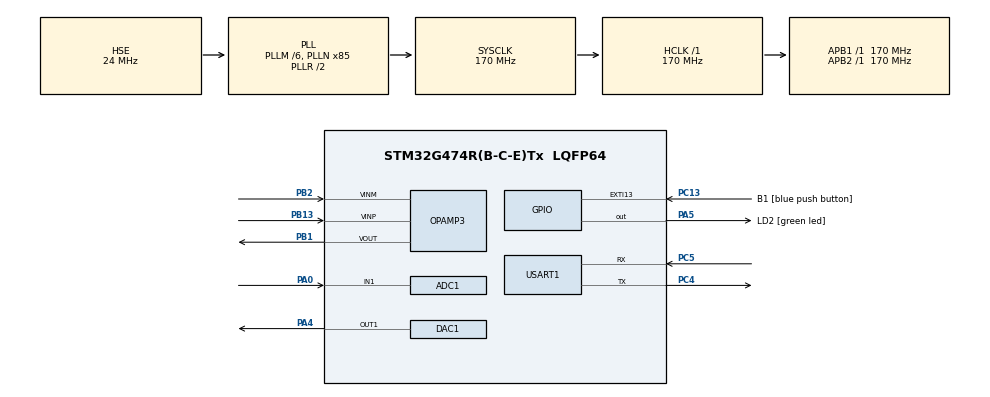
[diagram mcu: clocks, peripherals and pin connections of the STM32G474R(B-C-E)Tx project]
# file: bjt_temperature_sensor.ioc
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ADC1.Channel-1\#ChannelRegularConversion=ADC_CHANNEL_1
ADC1.ClockPrescaler=ADC_CLOCK_ASYNC_DIV8
ADC1.ContinuousConvMode=ENABLE
ADC1.DMAContinuousRequests=ENABLE
ADC1.GainCompensation=0
ADC1.NbrOfConversion=1
ADC1.NbrOfConversionFlag=1
ADC1.OffsetNumber-1\#ChannelRegularConversion=ADC_OFFSET_NONE
ADC1.Overrun=ADC_OVR_DATA_OVERWRITTEN
ADC1.OversamplingMode=ENABLE
ADC1.Rank-1\#ChannelRegularConversion=1
ADC1.Ratio=ADC_OVERSAMPLING_RATIO_256
ADC1.RightBitShift=ADC_RIGHTBITSHIFT_8
ADC1.SamplingTime-1\#ChannelRegularConversion=ADC_SAMPLETIME_640CYCLES_5
ADC1.master=1
DAC1.DAC_Trigger_OUT1-DAC_OUT1=DAC_TRIGGER_NONE
DAC1.DAC_UserTrimming-DAC_OUT1=DAC_TRIMMING_FACTORY
Dma.ADC1.0.Direction=DMA_PERIPH_TO_MEMORY
Dma.ADC1.0.EventEnable=DISABLE
Dma.ADC1.0.Instance=DMA2_Channel1
Dma.ADC1.0.MemDataAlignment=DMA_MDATAALIGN_HALFWORD
Dma.ADC1.0.MemInc=DMA_MINC_ENABLE
Dma.ADC1.0.Mode=DMA_CIRCULAR
Dma.ADC1.0.PeriphDataAlignment=DMA_PDATAALIGN_HALFWORD
Dma.ADC1.0.PeriphInc=DMA_PINC_DISABLE
Dma.ADC1.0.Polarity=HAL_DMAMUX_REQ_GEN_RISING
Dma.ADC1.0.Priority=DMA_PRIORITY_HIGH
Dma.ADC1.0.RequestNumber=1
Dma.ADC1.0.SignalID=NONE
Dma.ADC1.0.SyncEnable=DISABLE
Dma.ADC1.0.SyncPolarity=HAL_DMAMUX_SYNC_NO_EVENT
Dma.ADC1.0.SyncRequestNumber=1
Dma.ADC1.0.SyncSignalID=NONE
Dma.Request0=ADC1
Mcu.Family=STM32G4
Mcu.Name=STM32G474R(B-C-E)Tx
Mcu.Package=LQFP64
NVIC.DMA2_Channel1_IRQn=true\:0\:1\:false\:false\:true\:false\:true\:true
NVIC.EXTI15_10_IRQn=true\:1\:0\:true\:false\:true\:true\:true\:true
NVIC.PriorityGroup=NVIC_PRIORITYGROUP_3
NVIC.USART1_IRQn=true\:0\:0\:true\:false\:true\:true\:true\:true
OPAMP3.PowerMode=OPAMP_POWERMODE_HIGHSPEED
PA0.Mode=IN1-Single-Ended
PA0.Signal=ADC1_IN1
PA13.GPIO_Label=T_SWDIO
PA13.Mode=Serial_Wire
PA13.Signal=SYS_JTMS-SWDIO
PA14.GPIO_Label=T_SWCLK
PA14.Mode=Serial_Wire
PA14.Signal=SYS_JTCK-SWCLK
PA4.Signal=COMP_DAC11_group
PA5.GPIO_Label=LD2 [green led]
PA5.Signal=GPIO_Output
PB1.Mode=Standalone
PB1.Signal=OPAMP3_VOUT
PB13.Mode=Standalone
PB13.Signal=OPAMP3_VINP
PB2.Mode=Standalone
PB2.Signal=OPAMP3_VINM
PC13.GPIO_Label=B1 [blue push button]
PC13.Signal=GPXTI13
PC14-OSC32_IN.Mode=LSE-External-Oscillator
PC14-OSC32_IN.Signal=RCC_OSC32_IN
PC15-OSC32_OUT.Mode=LSE-External-Oscillator
PC15-OSC32_OUT.Signal=RCC_OSC32_OUT
PC4.Mode=Asynchronous
PC4.Signal=USART1_TX
PC5.Mode=Asynchronous
PC5.Signal=USART1_RX
PF0-OSC_IN.Mode=HSE-External-Oscillator
PF0-OSC_IN.Signal=RCC_OSC_IN
PF1-OSC_OUT.Mode=HSE-External-Oscillator
PF1-OSC_OUT.Signal=RCC_OSC_OUT
ProjectManager.HeapSize=0x200
ProjectManager.StackSize=0x400
ProjectManager.TargetToolchain=STM32CubeIDE
RCC.ADC12Freq_Value=170000000
RCC.ADC345Freq_Value=170000000
RCC.AHBFreq_Value=170000000
RCC.APB1Freq_Value=170000000
RCC.APB1TimFreq_Value=170000000
RCC.APB2Freq_Value=170000000
RCC.APB2TimFreq_Value=170000000
RCC.CortexFreq_Value=170000000
RCC.EXTERNAL_CLOCK_VALUE=12288000
RCC.HCLKFreq_Value=170000000
RCC.HSE_VALUE=24000000
RCC.HSI48_VALUE=48000000
RCC.HSI_VALUE=16000000
RCC.PLLM=RCC_PLLM_DIV6
RCC.PLLN=85
RCC.PLLSourceVirtual=RCC_PLLSOURCE_HSE
RCC.RTCClockSelection=RCC_RTCCLKSOURCE_LSE
RCC.SYSCLKFreq_VALUE=170000000
RCC.SYSCLKSource=RCC_SYSCLKSOURCE_PLLCLK
RCC.USBFreq_Value=170000000
RCC.VCOOutputFreq_Value=340000000
SH.COMP_DAC11_group.0=DAC1_OUT1,DAC_OUT1
USART1.VirtualMode-Asynchronous=VM_ASYNC
VP_SYS_VS_DBSignals.Mode=DisableDeadBatterySignals
board=NUCLEO-G474RE

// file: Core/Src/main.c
/* USER CODE BEGIN Header */
/**
 ******************************************************************************
 * @file           : main.c
 * @brief          : Main program body
 ******************************************************************************
 * @attention
 *
 * Copyright (c) 2023 STMicroelectronics.
 * All rights reserved.
 *
 * This software is licensed under terms that can be found in the LICENSE file
 * in the root directory of this software component.
 * If no LICENSE file comes with this software, it is provided AS-IS.
 *
 ******************************************************************************
 */
/* USER CODE END Header */
#include "main.h"
#include "adc.h"
#include "dac.h"
#include "dma.h"
#include "opamp.h"
#include "usart.h"
#include "gpio.h"

/* USER CODE BEGIN Includes */
#include "stdint.h"
#include "stdio.h"
#include "math.h"
/* USER CODE END Includes */

void SystemClock_Config(void);
/* USER CODE BEGIN PFP */
static uint32_t Vf_raw = 0;
static uint32_t timestamp_ms = 0;
static uint32_t DAC_Value = 600;

static double temp_C = 0;

static double Vf_filtered = 0.0;
static double Vf_filtered_pre = 0.0;

static double filter_coeff = 0.1;
static uint8_t rx_buffer[10] = { 0 };
static uint8_t rx_buffer_counter = 0;

static double coeff0 = -0.057718564039213;
static double coeff1 = 166.0166993386221;

extern UART_HandleTypeDef huart1;

/* USER CODE END PFP */

/* USER CODE BEGIN 0 */
int __io_putchar(int ch) {
	/* Place your implementation of fputc here */
	/* e.g. write a character to the LPUART1 and Loop until the end of transmission */
	//HAL_UART_Transmit(&hlpuart1, (uint8_t*) &ch, 1, 0xFFFF);
	return ch;
}

void HAL_UART_RxCpltCallback(UART_HandleTypeDef *huart) {

	if (rx_buffer_counter >= 4) {
		rx_buffer_counter = 0;
		if ('R' == rx_buffer[0] && 'T' == rx_buffer[1] && '\r' == rx_buffer[2]
				&& '\n' == rx_buffer[3]) {
			uint16_t tempC_tx = lround(temp_C * 100.0);
			HAL_UART_Transmit_IT(&huart1, (uint8_t*) &tempC_tx, 2);
		} else {
			uint16_t tempC_tx = 0xFFFF;
			HAL_UART_Transmit_IT(&huart1, (uint8_t*) &tempC_tx, 2);
		}
	}

	if ('R' != rx_buffer[0]) {
		rx_buffer_counter = 0;
		uint16_t tempC_tx = 0xFFFF;
		HAL_UART_Transmit_IT(&huart1, (uint8_t*) &tempC_tx, 2);
	}

	HAL_UART_Receive_IT(&huart1, &rx_buffer[rx_buffer_counter++], 1);

}

/* USER CODE END 0 */

int main(void) {

	/* MCU Configuration--------------------------------------------------------*/

	/* Reset of all peripherals, Initializes the Flash interface and the Systick. */
	HAL_Init();

	/* Configure the system clock */
	SystemClock_Config();

	/* Initialize all configured peripherals */
	MX_GPIO_Init();
	MX_DMA_Init();
	MX_ADC1_Init();
	MX_USART1_UART_Init();
	MX_DAC1_Init();
	MX_OPAMP3_Init();
	/* USER CODE BEGIN 2 */
	/* Run the ADC calibration in single-ended mode */

	/* Enable OPAMP */
	if (HAL_OK != HAL_OPAMP_Start(&hopamp3)) {
		Error_Handler();
	}

	if (HAL_OK != HAL_ADC_Start_DMA(&hadc1, &Vf_raw, 1)) {
		/* Start DMA Error */
		Error_Handler();
	}
	HAL_UART_Receive_IT(&huart1, &rx_buffer[rx_buffer_counter++], 1);
	HAL_DAC_SetValue(&hdac1, DAC1_CHANNEL_1, DAC_ALIGN_12B_R, DAC_Value);
	HAL_DAC_Start(&hdac1, DAC1_CHANNEL_1);
	HAL_Delay(10);
	Vf_filtered_pre = (Vf_raw * 0.800);
	/* USER CODE END 2 */

	/* Infinite loop */
	/* USER CODE BEGIN WHILE */
	while (1) {

		if ((HAL_GetTick() - timestamp_ms) >= 100) {
			timestamp_ms = HAL_GetTick();

			HAL_DAC_SetValue(&hdac1, DAC1_CHANNEL_1, DAC_ALIGN_12B_R,
					DAC_Value);

			Vf_filtered = filter_coeff * (Vf_raw * 0.800)
					+ (1.0 - filter_coeff) * Vf_filtered_pre;
			Vf_filtered_pre = Vf_filtered;

			temp_C = coeff0 * Vf_filtered + coeff1;

		}
		/* USER CODE END WHILE */

	}
}

void SystemClock_Config(void) {
	RCC_OscInitTypeDef RCC_OscInitStruct = { 0 };
	RCC_ClkInitTypeDef RCC_ClkInitStruct = { 0 };

	/** Configure the main internal regulator output voltage
	 */
	HAL_PWREx_ControlVoltageScaling(PWR_REGULATOR_VOLTAGE_SCALE1_BOOST);

	/** Initializes the RCC Oscillators according to the specified parameters
	 * in the RCC_OscInitTypeDef structure.
	 */
	RCC_OscInitStruct.OscillatorType = RCC_OSCILLATORTYPE_HSE;
	RCC_OscInitStruct.HSEState = RCC_HSE_ON;
	RCC_OscInitStruct.PLL.PLLState = RCC_PLL_ON;
	RCC_OscInitStruct.PLL.PLLSource = RCC_PLLSOURCE_HSE;
	RCC_OscInitStruct.PLL.PLLM = RCC_PLLM_DIV6;
	RCC_OscInitStruct.PLL.PLLN = 85;
	RCC_OscInitStruct.PLL.PLLP = RCC_PLLP_DIV2;
	RCC_OscInitStruct.PLL.PLLQ = RCC_PLLQ_DIV2;
	RCC_OscInitStruct.PLL.PLLR = RCC_PLLR_DIV2;
	if (HAL_RCC_OscConfig(&RCC_OscInitStruct) != HAL_OK) {
		Error_Handler();
	}

	/** Initializes the CPU, AHB and APB buses clocks
	 */
	RCC_ClkInitStruct.ClockType = RCC_CLOCKTYPE_HCLK | RCC_CLOCKTYPE_SYSCLK
			| RCC_CLOCKTYPE_PCLK1 | RCC_CLOCKTYPE_PCLK2;
	RCC_ClkInitStruct.SYSCLKSource = RCC_SYSCLKSOURCE_PLLCLK;
	RCC_ClkInitStruct.AHBCLKDivider = RCC_SYSCLK_DIV1;
	RCC_ClkInitStruct.APB1CLKDivider = RCC_HCLK_DIV1;
	RCC_ClkInitStruct.APB2CLKDivider = RCC_HCLK_DIV1;

	if (HAL_RCC_ClockConfig(&RCC_ClkInitStruct, FLASH_LATENCY_4) != HAL_OK) {
		Error_Handler();
	}
}

void Error_Handler(void) {
	/* USER CODE BEGIN Error_Handler_Debug */
	/* User can add his own implementation to report the HAL error return state */
	__disable_irq();
	while (1) {
		HAL_GPIO_TogglePin(LD2_GPIO_Port, LD2_Pin);
		HAL_Delay(500);
	}
	/* USER CODE END Error_Handler_Debug */
}
